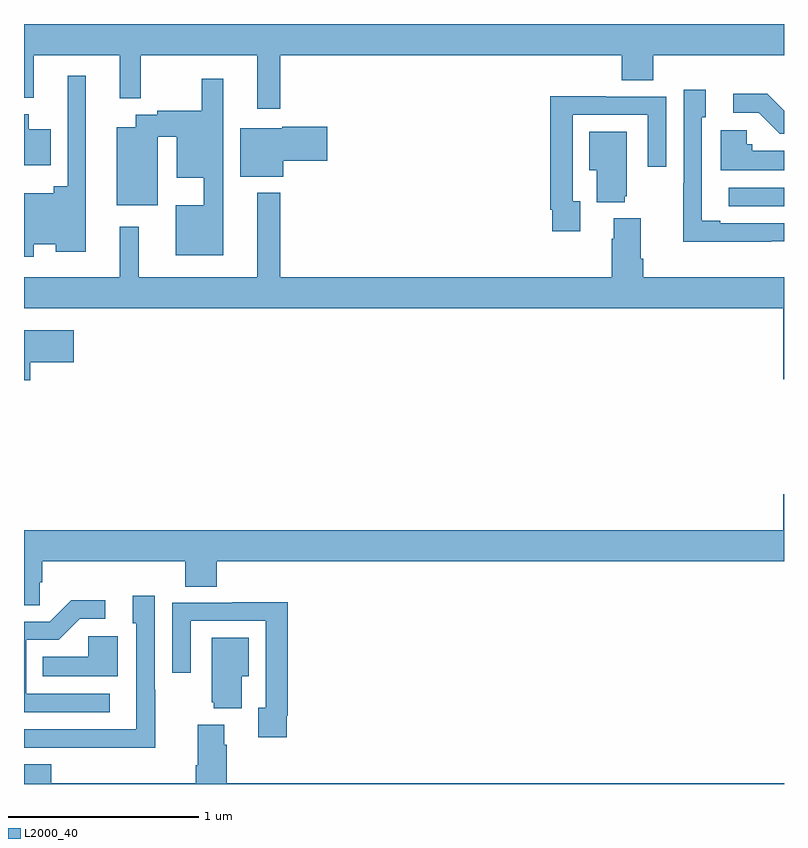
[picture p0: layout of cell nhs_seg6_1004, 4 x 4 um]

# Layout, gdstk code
import gdstk
lib = gdstk.Library(unit=1e-6, precision=1e-09)
def R(c, l, rs):  # rectangles x0, y0, x1, y1
    for r in rs: c.add(gdstk.rectangle(r[:2], r[2:], *l))
def P(c, l, *ps):  # polygons
    for p in ps: c.add(gdstk.Polygon(p, *l))
L2000_40 = (2000, 40)

nhs_seg6_1004 = lib.new_cell('nhs_seg6_1004')
R(nhs_seg6_1004, L2000_40, [(176.709,946.542,177,946.638)])
P(nhs_seg6_1004, L2000_40, [(174.349,947.336),(176.147,947.336),(176.147,947.203),(176.312,947.203),(176.312,947.336),(177,947.336),(177,947.5),(173,947.5),(173,947.111),(173.051,947.111),(173.051,947.336),(173.504,947.336),(173.504,947.108),(173.614,947.108),(173.614,947.336),(174.227,947.336),(174.227,947.055),(174.349,947.055)],
  [(173.052,946.34),(173.168,946.34),(173.168,946.301),(173.326,946.301),(173.326,947.227),(173.229,947.227),(173.229,946.645),(173.156,946.645),(173.156,946.609),(173,946.609),(173,946.275),(173.052,946.275)],
  [(174.049,947.212),(173.935,947.212),(173.935,947.043),(173.7,947.043),(173.7,947.023),(173.588,947.023),(173.588,946.957),(173.489,946.957),(173.489,946.547),(173.704,946.547),(173.704,946.906),(173.804,946.906),(173.804,946.691),(173.945,946.691),(173.945,946.546),(173.798,946.546),(173.798,946.283),(174.049,946.283)],
  [(176.933,946.356),(177,946.356),(177,946.452),(176.665,946.452),(176.665,946.465),(176.568,946.465),(176.568,947.01),(176.587,947.01),(176.587,947.155),(176.472,947.155),(176.472,946.661),(176.47,946.661),(176.47,946.355),(176.933,946.355)],
  [(177,947.043),(176.911,947.132),(176.733,947.132),(176.733,947.034),(176.867,947.034),(176.978,946.923),(177,946.923)],
  [(175.927,946.566),(175.887,946.566),(175.887,947.022),(176.283,947.022),(176.283,946.749),(176.379,946.749),(176.379,947.118),(176.063,947.118),(176.063,947.12),(175.771,947.12),(175.771,946.522),(175.779,946.522),(175.779,946.41),(175.927,946.41)],
  [(173.14,946.945),(173.026,946.945),(173.026,947.026),(173,947.026),(173,946.757),(173.14,946.757)],
  [(174.364,946.781),(174.595,946.781),(174.595,946.959),(174.36,946.959),(174.36,946.951),(174.137,946.951),(174.137,946.697),(174.364,946.697)],
  [(177,946.834),(176.832,946.834),(176.832,946.866),(176.805,946.866),(176.805,946.942),(176.666,946.942),(176.666,946.73),(177,946.73)],
  [(176.162,946.593),(176.173,946.593),(176.173,946.933),(175.976,946.933),(175.976,946.73),(176.015,946.73),(176.015,946.562),(176.162,946.562)],
  [(177,946.168),(176.258,946.168),(176.258,946.264),(176.245,946.264),(176.245,946.477),(176.105,946.477),(176.105,946.37),(176.093,946.37),(176.093,946.168),(174.349,946.168),(174.349,946.612),(174.227,946.612),(174.227,946.168),(173.603,946.168),(173.603,946.432),(173.504,946.432),(173.504,946.168),(173,946.168),(173,946.004),(176.996,946.004),(176.996,945.63),(177,945.63)],
  [(173.032,945.719),(173.263,945.719),(173.263,945.889),(173,945.889),(173,945.626),(173.032,945.626)],
  [(173.082,944.563),(173.096,944.563),(173.096,944.672),(173.849,944.672),(173.849,944.539),(174.014,944.539),(174.014,944.672),(177,944.672),(177,945.025),(176.996,945.025),(176.996,944.836),(173,944.836),(173,944.44),(173.082,944.44)],
  [(173.691,943.997),(173.688,943.997),(173.688,944.491),(173.573,944.491),(173.573,944.346),(173.592,944.346),(173.592,944.042),(173.591,944.042),(173.591,943.788),(173,943.788),(173,943.692),(173.227,943.692),(173.227,943.691),(173.691,943.691)],
  [(173.452,943.974),(173.013,943.974),(173.013,944.259),(173.182,944.259),(173.293,944.37),(173.428,944.37),(173.428,944.468),(173.249,944.468),(173.136,944.355),(173,944.355),(173,943.878),(173.452,943.878)],
  [(174.382,943.858),(174.389,943.858),(174.389,944.456),(174.097,944.456),(174.097,944.454),(173.781,944.454),(173.781,944.085),(173.877,944.085),(173.877,944.358),(174.273,944.358),(174.273,943.902),(174.233,943.902),(174.233,943.746),(174.382,943.746)],
  [(173.494,944.278),(173.337,944.278),(173.337,944.17),(173.098,944.17),(173.098,944.066),(173.494,944.066)],
  [(174.145,944.066),(174.184,944.066),(174.184,944.269),(173.987,944.269),(173.987,943.929),(173.999,943.929),(173.999,943.898),(174.145,943.898)],
  [(177,943.504),(174.068,943.504),(174.068,943.706),(174.055,943.706),(174.055,943.813),(173.915,943.813),(173.915,943.6),(173.903,943.6),(173.903,943.504),(173.144,943.504),(173.144,943.603),(173,943.603),(173,943.5),(177,943.5)])

lib.write_gds('nhs_seg6_1004.gds')
